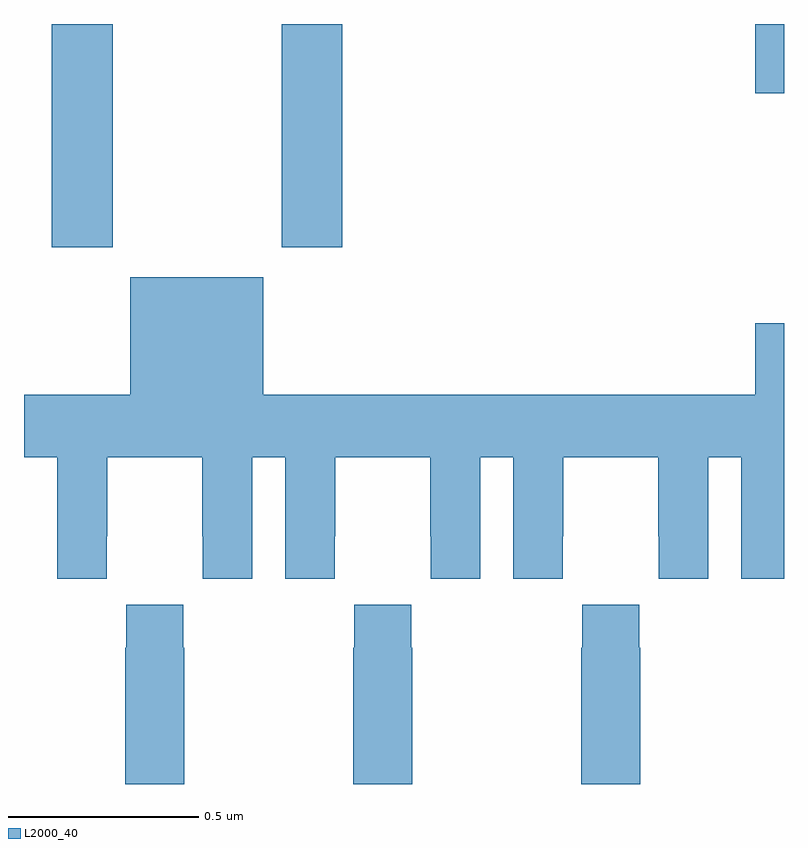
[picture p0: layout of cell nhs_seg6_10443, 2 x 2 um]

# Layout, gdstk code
import gdstk
lib = gdstk.Library(unit=1e-6, precision=1e-09)
def R(c, l, rs):  # rectangles x0, y0, x1, y1
    for r in rs: c.add(gdstk.rectangle(r[:2], r[2:], *l))
def P(c, l, *ps):  # polygons
    for p in ps: c.add(gdstk.Polygon(p, *l))
L2000_40 = (2000, 40)

nhs_seg6_10443 = lib.new_cell('nhs_seg6_10443')
R(nhs_seg6_10443, L2000_40, [(247.073,923.913,247.233,924.5), (247.678,923.913,247.838,924.5), (248.924,924.318,249,924.5)])
P(nhs_seg6_10443, L2000_40, [(247.218,923.152),(247.219,923.152),(247.219,923.36),(247.469,923.36),(247.469,923.152),(247.47,923.152),(247.47,923.04),(247.6,923.04),(247.6,923.36),(247.688,923.36),(247.688,923.04),(247.818,923.04),(247.818,923.152),(247.819,923.152),(247.819,923.36),(248.069,923.36),(248.069,923.152),(248.07,923.152),(248.07,923.04),(248.2,923.04),(248.2,923.36),(248.288,923.36),(248.288,923.04),(248.418,923.04),(248.418,923.152),(248.419,923.152),(248.419,923.36),(248.669,923.36),(248.669,923.152),(248.67,923.152),(248.67,923.04),(248.8,923.04),(248.8,923.36),(248.888,923.36),(248.888,923.04),(249,923.04),(249,923.713),(248.924,923.713),(248.924,923.524),(247.63,923.524),(247.63,923.833),(247.28,923.833),(247.28,923.524),(247,923.524),(247,923.36),(247.088,923.36),(247.088,923.04),(247.218,923.04)],
  [(247.422,922.859),(247.419,922.859),(247.419,922.972),(247.269,922.972),(247.269,922.859),(247.267,922.859),(247.267,922.5),(247.422,922.5)],
  [(248.022,922.859),(248.019,922.859),(248.019,922.972),(247.869,922.972),(247.869,922.859),(247.867,922.859),(247.867,922.5),(248.022,922.5)],
  [(248.622,922.859),(248.619,922.859),(248.619,922.972),(248.469,922.972),(248.469,922.859),(248.467,922.859),(248.467,922.5),(248.622,922.5)])

lib.write_gds('nhs_seg6_10443.gds')
